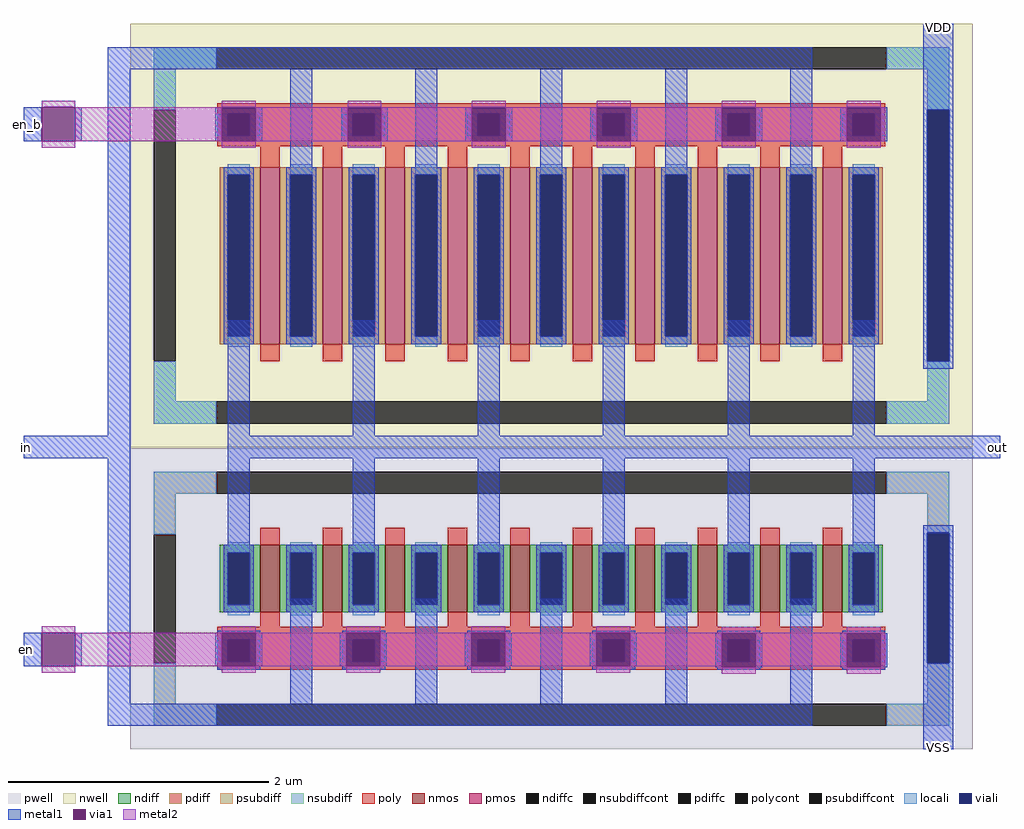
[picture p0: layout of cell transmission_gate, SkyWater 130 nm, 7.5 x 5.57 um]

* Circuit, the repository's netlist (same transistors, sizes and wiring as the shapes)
* transmission_gate
.subckt transmission_gate in out en en_b VDD VSS N=1 W_N=5.3 L_N=0.15 W_P=13.7 L_P=0.15
XM1 out en in VSS sky130_fd_pr__nfet_01v8 L=0.15 W=5.3 nf=10 ad='int((nf+1)/2) * W/nf * 0.29' as='int((nf+2)/2) * W/nf * 0.29'
+ pd='2*int((nf+1)/2) * (W/nf + 0.29)' ps='2*int((nf+2)/2) * (W/nf + 0.29)' nrd='0.29 / W' nrs='0.29 / W'
+ sa=0 sb=0 sd=0 mult='N' m='N' 
XM2 out en_b in VDD sky130_fd_pr__pfet_01v8 L=0.15 W=13.7 nf=10 ad='int((nf+1)/2) * W/nf * 0.29' as='int((nf+2)/2) * W/nf * 0.29'
+ pd='2*int((nf+1)/2) * (W/nf + 0.29)' ps='2*int((nf+2)/2) * (W/nf + 0.29)' nrd='0.29 / W' nrs='0.29 / W'
+ sa=0 sb=0 sd=0 mult='N' m='N' 
.ends

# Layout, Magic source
magic
tech sky130A
magscale 1 2
<< viali >>
rect 1171 545 1205 931
rect 1171 81 1205 281
<< metal1 >>
rect -87 993 995 1027
rect -216 883 -189 935
rect -137 883 -127 935
rect -87 430 -53 993
rect 78 883 88 935
rect 140 883 150 935
rect 193 832 227 993
rect 271 883 281 935
rect 333 883 343 935
rect 385 832 419 993
rect 462 883 472 935
rect 524 883 534 935
rect 577 832 611 993
rect 654 883 664 935
rect 716 883 726 935
rect 769 832 803 993
rect 846 883 856 935
rect 908 883 918 935
rect 961 832 995 993
rect 1038 883 1048 935
rect 1100 883 1110 935
rect 1165 931 1211 1063
rect -216 396 -53 430
rect -216 76 -189 128
rect -137 76 -127 128
rect -87 19 -53 396
rect 97 430 131 608
rect 289 430 323 608
rect 481 430 515 608
rect 673 430 707 608
rect 865 430 899 608
rect 1057 430 1091 608
rect 1165 545 1171 931
rect 1205 545 1211 931
rect 1165 533 1211 545
rect 97 396 1283 430
rect 97 253 131 396
rect 289 253 323 396
rect 481 253 515 396
rect 673 253 707 396
rect 865 253 899 396
rect 1057 253 1091 396
rect 1165 281 1211 293
rect 78 76 88 128
rect 140 76 150 128
rect 193 19 227 180
rect 269 76 279 128
rect 331 76 341 128
rect 385 19 419 180
rect 461 76 471 128
rect 523 76 533 128
rect 577 19 611 180
rect 653 76 663 128
rect 715 76 725 128
rect 769 19 803 180
rect 846 75 856 127
rect 908 75 918 127
rect 961 19 995 180
rect 1038 75 1048 127
rect 1100 75 1110 127
rect 1165 81 1171 281
rect 1205 81 1211 281
rect -87 -15 995 19
rect 1165 -51 1211 81
<< via1 >>
rect -189 883 -137 935
rect 88 883 140 935
rect 281 883 333 935
rect 472 883 524 935
rect 664 883 716 935
rect 856 883 908 935
rect 1048 883 1100 935
rect -189 76 -137 128
rect 88 76 140 128
rect 279 76 331 128
rect 471 76 523 128
rect 663 76 715 128
rect 856 75 908 127
rect 1048 75 1100 127
<< metal2 >>
rect -189 935 -137 945
rect 88 935 140 945
rect 281 935 333 945
rect 472 935 524 945
rect 664 935 716 945
rect 856 935 908 945
rect 1048 935 1100 945
rect -137 883 88 935
rect 140 883 281 935
rect 333 883 472 935
rect 524 883 664 935
rect 716 883 856 935
rect 908 883 1048 935
rect 1100 883 1107 935
rect -189 873 -137 883
rect 88 873 140 883
rect 281 873 333 883
rect 472 873 524 883
rect 664 873 716 883
rect 856 873 908 883
rect 1048 873 1100 883
rect -189 128 -137 138
rect 88 128 140 138
rect 279 128 331 138
rect 471 128 523 138
rect 663 128 715 138
rect 856 128 908 137
rect 1048 128 1100 137
rect -137 76 88 128
rect 140 76 279 128
rect 331 76 471 128
rect 523 76 663 128
rect 715 127 1107 128
rect 715 76 856 127
rect -189 66 -137 76
rect 88 66 140 76
rect 279 66 331 76
rect 471 66 523 76
rect 663 66 715 76
rect 908 76 1048 127
rect 856 65 908 75
rect 1100 76 1107 127
rect 1048 65 1100 75
use sky130_fd_pr__nfet_01v8_6J4AMR  sky130_fd_pr__nfet_01v8_6J4AMR_0
transform 1 0 593 0 1 211
box -646 -262 648 200
use sky130_fd_pr__pfet_01v8_UNG2NQ  sky130_fd_pr__pfet_01v8_UNG2NQ_0
transform -1 0 595 0 -1 707
box -646 -356 648 294
<< labels >>
flabel metal1 -211 909 -211 909 3 FreeSans 400 0 0 0 en_b
flabel metal1 -212 413 -212 413 3 FreeSans 400 0 0 0 in
flabel metal1 -212 102 -212 102 3 FreeSans 400 0 0 0 en
flabel metal1 1279 412 1279 412 7 FreeSans 400 0 0 0 out
flabel metal1 1188 1058 1188 1058 5 FreeSans 400 0 0 0 VDD
flabel metal1 1188 -48 1188 -48 1 FreeSans 400 0 0 0 VSS
<< end >>

# cell sky130_fd_pr__nfet_01v8_6J4AMR: kit device sky130_fd_pr__nfet_01v8, w 0.53 l 0.150 m 1 nf 10 diffcov 100 polycov 100 guard 1 glc 1 grc 1 gtc 1 gbc 1 tbcov 100 rlcov 100 topc 1 botc 1 poverlap 0 doverlap 1 lmin 0.15 wmin 0.42 compatible {sky130_fd_pr__nfet_01v8 sky130_fd_pr__nfet_01v8_lvt sky130_fd_bs_flash__special_sonosfet_star sky130_fd_pr__nfet_g5v0d10v5 sky130_fd_pr__nfet_05v0_nvt sky130_fd_pr__nfet_03v3_nvt} full_metal 1 viasrc 100 viadrn 100 viagate 100 viagb 0 viagr 0 viagl 0 viagt 0

# cell sky130_fd_pr__pfet_01v8_UNG2NQ: kit device sky130_fd_pr__pfet_01v8, w 1.37 l 0.15 m 1 nf 10 diffcov 100 polycov 100 guard 1 glc 1 grc 1 gtc 1 gbc 1 tbcov 100 rlcov 100 topc 1 botc 1 poverlap 0 doverlap 1 lmin 0.15 wmin 0.42 compatible {sky130_fd_pr__pfet_01v8 sky130_fd_pr__pfet_01v8_lvt sky130_fd_pr__pfet_01v8_hvt sky130_fd_pr__pfet_g5v0d10v5} full_metal 1 viasrc 100 viadrn 100 viagate 100 viagb 0 viagr 0 viagl 0 viagt 0
